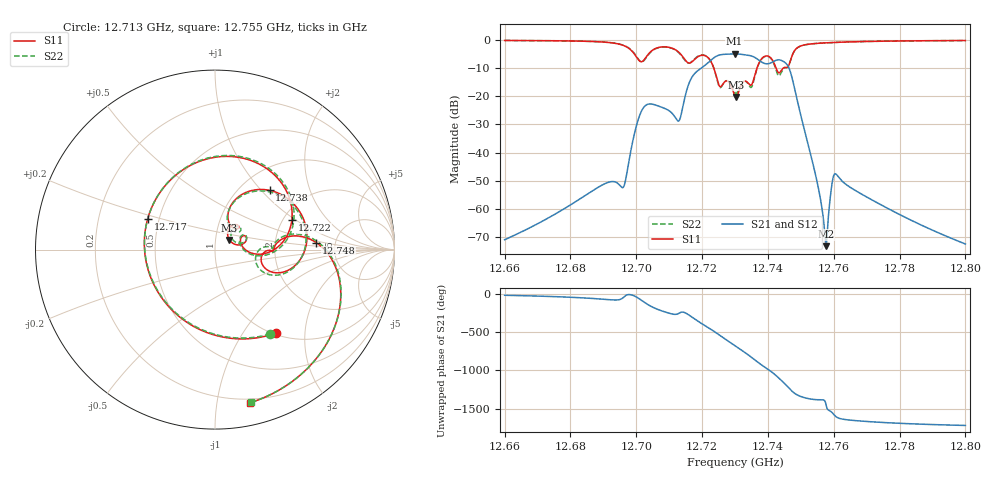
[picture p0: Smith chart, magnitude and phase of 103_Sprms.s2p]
! TOUCHSTONE file generated by CST MICROWAVE STUDIO
! Date and time: Wed Jul 31 15:57:19 2024
! Project name: WaveGuide_BPF-Ver4.1_U-shape_Ku_T3_C4_CWA_2.cst
! Parameters = {cavity_h=16; cavity_l0=10; cavity_l1=15.2006; cavity_l2=16.8713; cavity_l3=17.1222; cavity_l4=17.2742; cavity_l5=17.1214; cavity_l6=17.5565; cavity_r=2.5; cavity_screw_l=0.5; cavity_screw_r=1.5; cavity_w=8; iris_h00=0; iris_h01=8.8032; iris_h112=0; iris_h12=5.5869; iris_h211=3.6612; 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
! Header version: 2018
! Port assignment regex: !\s*Touchstone port\s*([0-9]+)\s*=\s*(CST MWS port|CST DS port)\s*([0-9]+|Zmin|Zmax)\s*\(\"(.*)\"\)(\s*mode\s*([0-9]+))?.*
! Touchstone port assignment:
! Touchstone port 1 = CST MWS port 1 ("")
! Touchstone port 2 = CST MWS port 2 ("")
# GHz S RI R 50
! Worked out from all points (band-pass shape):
!   5001 points, 12.66 GHz to 12.8 GHz, reference 50 ohm
!   highest |S21| = -4.90 dB at 12.73 GHz (marker M1); lowest = -73.2 dB at 12.758 GHz (marker M2)
!   |S21| within 3 dB of the highest: 12.72197 GHz to 12.73818 GHz (16.21 MHz wide, 0.127 % of centre); 12.7413 GHz to 12.74508 GHz (3.785 MHz wide, 0.0297 % of centre)
!   lowest |S11| = -20.3 dB at 12.73 GHz (marker M3), VSWR 1.21, Z = 58.4 + j6.38 ohm
!   |S11| at or under -10 dB: 12.72357 GHz to 12.73667 GHz (13.1 MHz wide, 0.103 % of centre); 12.74248 GHz to 12.74463 GHz (2.141 MHz wide, 0.0168 % of centre)
!   |S22| runs from -18.9 to -0.2 dB; largest |S21 - S12| = 1e-09
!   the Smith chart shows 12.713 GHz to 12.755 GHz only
!   S11 on the Smith chart (normalised r, x): 12.713 GHz: 1.02, -1.42; 12.717 GHz: 0.43, +0.18; 12.722 GHz: 2.23, +0.94; 12.738 GHz: 1.35, +1.11; 12.748 GHz: 3.54, +0.41; 12.755 GHz: 0.17, -1.24
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12.66  0.2707 0.9439  0.000266 -9.86e-05  0.000266 -9.86e-05  0.2734 0.9432
12.68335  0.6998 0.6485  0.000939 -0.00126  0.000939 -0.00126  0.6996 0.6494
12.6992  0.223 -0.5433  0.017 -0.00802  0.017 -0.00802  0.2607 -0.5411
12.70242  -0.4215 0.1538  -0.0231 -0.0611  -0.0231 -0.0611  -0.4212 0.1131
12.70668  0.4019 0.6151  -0.0599 0.031  -0.0599 0.031  0.3936 0.6138
12.71331  0.3387 -0.4656  -0.0154 0.0373  -0.0154 0.0373  0.3089 -0.47
12.71698  -0.3747 0.1728  0.1358 0.175  0.1358 0.175  -0.3585 0.2204
12.72219  0.4283 0.1664  0.000786 -0.4132  0.000786 -0.4132  0.437 0.1489
12.72566  0.1421 0.0433  -0.5328 0.1293  -0.5328 0.1293  0.137 0.0431
12.72986  0.0979 0.0363  0.4012 0.4034  0.4012 0.4034  0.1108 0.044
12.73  0.0917 0.0411  0.4286 0.374  0.4286 0.374  0.1055 0.0482
12.73031  0.0805 0.0541  0.481 0.3027  0.481 0.3027  0.0961 0.0598
12.7342  0.1205 0.115  0.0572 -0.5308  0.0572 -0.5308  0.1253 0.0961
12.7379  0.3041 0.3302  -0.3755 0.1711  -0.3755 0.1711  0.3047 0.3213
12.74274  0.2736 -0.0979  0.4411 0.0143  0.4411 0.0143  0.2417 -0.0997
12.74756  0.5633 0.0394  -0.1764 0.0685  -0.1764 0.0685  0.5628 0.0496
12.75335  0.3982 -0.7571  0.00344 0.0068  0.00344 0.0068  0.4031 -0.7536
12.75537  0.1971 -0.8528  0.00128 0.00191  0.00128 0.00191  0.2014 -0.8512
12.75766  -0.0204 -0.8913  0.000216 -3.61e-05  0.000216 -3.61e-05  -0.0172 -0.8909
12.76049  -0.2501 -0.87  -0.0039 -0.0016  -0.0039 -0.0016  -0.2484 -0.8702
12.77668  -0.8907 -0.3484  -0.000435 0.000905  -0.000435 0.000905  -0.8914 -0.3465
12.8  -0.9569 0.2081  3.81e-05 0.000236  3.81e-05 0.000236  -0.9561 0.2118
